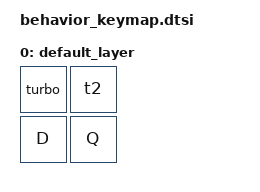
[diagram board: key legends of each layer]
#include <dt-bindings/zmk/keys.h>
#include <behaviors.dtsi>
#include <dt-bindings/zmk/kscan_mock.h>

/ {
    behaviors {
        turbo: turbo {
            compatible = "zmk,behavior-turbo-key";
            label = "turbo";
            #binding-cells = <0>;
            tap-ms = <5>;
            wait-ms = <300>;
            bindings = <&kp C>;
        };
        t2: turbo2 {
            compatible = "zmk,behavior-turbo-key";
            label = "turbo2";
            #binding-cells = <0>;
            tap-ms = <5>;
            wait-ms = <300>;
            toggle-term-ms = <50>;
            bindings = <&kp C>;
        };
    };

    keymap {
        compatible = "zmk,keymap";
        label ="Default keymap";

        default_layer {
            bindings = <
                &turbo &t2
                &kp D &kp Q>;
        };
    };
};
